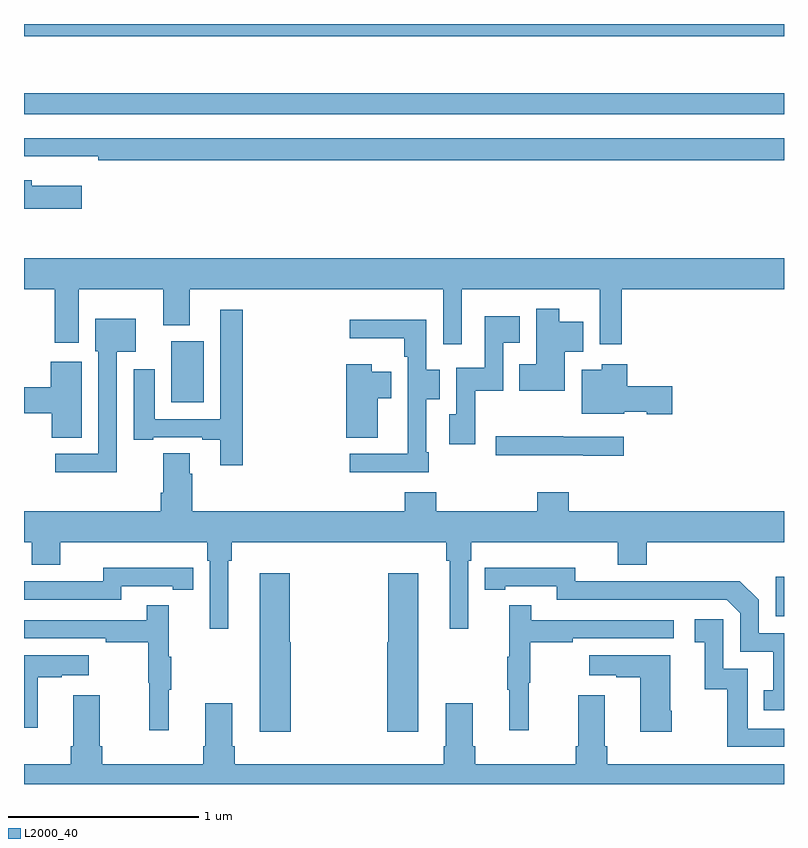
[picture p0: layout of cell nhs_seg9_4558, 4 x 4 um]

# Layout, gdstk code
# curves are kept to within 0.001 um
import gdstk
lib = gdstk.Library(unit=1e-6, precision=1e-09)
def R(c, l, rs):  # rectangles x0, y0, x1, y1
    for r in rs: c.add(gdstk.rectangle(r[:2], r[2:], *l))
def P(c, l, *ps):  # polygons
    for p in ps: c.add(gdstk.Polygon(p, *l))
L2000_40 = (2000, 40)

nhs_seg9_4558 = lib.new_cell('nhs_seg9_4558')
R(nhs_seg9_4558, L2000_40, [(376.956,1177.383,377,1177.591), (373.775,1178.51,373.945,1178.83), (373,1180.026,377,1180.135), (373,1180.436,377,1180.5)])
P(nhs_seg9_4558, L2000_40, [(377,1179.9),(373,1179.9),(373,1179.804),(373.138,1179.804),(373.138,1179.803),(373.39,1179.803),(373.39,1179.784),(377,1179.784)],
  [(373.303,1179.649),(373.042,1179.649),(373.042,1179.678),(373,1179.678),(373,1179.527),(373.303,1179.527)],
  [(375.303,1179.104),(376.029,1179.104),(376.029,1178.814),(376.145,1178.814),(376.145,1179.104),(377,1179.104),(377,1179.268),(373,1179.268),(373,1179.104),(373.163,1179.104),(373.163,1178.823),(373.288,1178.823),(373.288,1179.104),(373.733,1179.104),(373.733,1178.915),(373.873,1178.915),(373.873,1179.104),(375.207,1179.104),(375.207,1178.814),(375.303,1178.814)],
  [(375.847,1178.774),(375.944,1178.774),(375.944,1178.932),(375.817,1178.932),(375.817,1179.001),(375.695,1179.001),(375.695,1178.71),(375.607,1178.71),(375.607,1178.57),(375.847,1178.57)],
  [(374.15,1178.995),(374.034,1178.995),(374.034,1178.421),(373.687,1178.421),(373.687,1178.683),(373.577,1178.683),(373.577,1178.313),(373.681,1178.313),(373.681,1178.325),(373.937,1178.325),(373.937,1178.313),(374.033,1178.313),(374.033,1178.178),(374.15,1178.178)],
  [(375.375,1178.57),(375.522,1178.57),(375.522,1178.822),(375.61,1178.822),(375.61,1178.962),(375.426,1178.962),(375.426,1178.692),(375.276,1178.692),(375.276,1178.445),(375.239,1178.445),(375.239,1178.289),(375.375,1178.289)],
  [(373.488,1178.774),(373.588,1178.774),(373.588,1178.95),(373.376,1178.95),(373.376,1178.778),(373.392,1178.778),(373.392,1178.238),(373.164,1178.238),(373.164,1178.141),(373.488,1178.141)],
  [(375.13,1178.245),(375.117,1178.245),(375.117,1178.524),(375.187,1178.524),(375.187,1178.679),(375.117,1178.679),(375.117,1178.944),(374.715,1178.944),(374.715,1178.846),(375.001,1178.846),(375.001,1178.75),(375.021,1178.75),(375.021,1178.435),(375.02,1178.435),(375.02,1178.238),(374.715,1178.238),(374.715,1178.142),(375.13,1178.142)],
  [(373.303,1178.722),(373.142,1178.722),(373.142,1178.588),(373,1178.588),(373,1178.452),(373.147,1178.452),(373.147,1178.323),(373.303,1178.323)],
  [(376.411,1178.594),(376.175,1178.594),(376.175,1178.71),(376.04,1178.71),(376.04,1178.68),(375.935,1178.68),(375.935,1178.45),(376.158,1178.45),(376.158,1178.459),(376.278,1178.459),(376.278,1178.447),(376.411,1178.447)],
  [(374.863,1178.531),(374.932,1178.531),(374.932,1178.671),(374.83,1178.671),(374.83,1178.71),(374.696,1178.71),(374.696,1178.323),(374.863,1178.323)],
  [(376.156,1178.328),(375.839,1178.328),(375.839,1178.331),(375.483,1178.331),(375.483,1178.231),(375.943,1178.231),(375.943,1178.227),(376.156,1178.227)],
  [(376.124,1177.655),(376.277,1177.655),(376.277,1177.772),(377,1177.772),(377,1177.936),(375.866,1177.936),(375.866,1178.035),(375.701,1178.035),(375.701,1177.936),(375.17,1177.936),(375.17,1178.035),(375.005,1178.035),(375.005,1177.936),(373.886,1177.936),(373.886,1178.132),(373.873,1178.132),(373.873,1178.24),(373.733,1178.24),(373.733,1178.032),(373.721,1178.032),(373.721,1177.936),(373,1177.936),(373,1177.772),(373.04,1177.772),(373.04,1177.655),(373.192,1177.655),(373.192,1177.772),(373.964,1177.772),(373.964,1177.676),(373.977,1177.676),(373.977,1177.317),(374.074,1177.317),(374.074,1177.676),(374.093,1177.676),(374.093,1177.772),(375.223,1177.772),(375.223,1177.676),(375.242,1177.676),(375.242,1177.317),(375.339,1177.317),(375.339,1177.676),(375.353,1177.676),(375.353,1177.772),(376.124,1177.772)],
  [(377,1177.293),(376.866,1177.293),(376.866,1177.47),(376.768,1177.568),(376.36,1177.568),(376.36,1177.566),(375.9,1177.566),(375.9,1177.639),(375.424,1177.638),(375.424,1177.522),(375.532,1177.522),(375.532,1177.542),(375.804,1177.542),(375.804,1177.47),(376.698,1177.47),(376.77,1177.398),(376.77,1177.197),(376.943,1177.197),(376.943,1176.993),(376.894,1176.993),(376.894,1176.888),(377,1176.888)],
  [(373.512,1177.542),(373.784,1177.542),(373.784,1177.522),(373.892,1177.522),(373.892,1177.638),(373.784,1177.638),(373.784,1177.639),(373.416,1177.639),(373.416,1177.566),(373,1177.566),(373,1177.47),(373.512,1177.47)],
  [(375.076,1177.609),(374.918,1177.609),(374.918,1177.245),(374.912,1177.245),(374.912,1176.774),(375.076,1176.774)],
  [(374.404,1177.245),(374.399,1177.245),(374.399,1177.609),(374.24,1177.609),(374.24,1176.774),(374.404,1176.774)],
  [(375.656,1177.032),(375.664,1177.032),(375.664,1177.246),(375.887,1177.246),(375.887,1177.266),(376.42,1177.266),(376.42,1177.362),(375.671,1177.362),(375.671,1177.441),(375.554,1177.441),(375.554,1177.169),(375.543,1177.169),(375.543,1176.995),(375.554,1176.995),(375.554,1176.783),(375.656,1176.783)],
  [(373.763,1176.995),(373.774,1176.995),(373.774,1177.169),(373.763,1177.169),(373.763,1177.441),(373.645,1177.441),(373.645,1177.362),(373,1177.362),(373,1177.266),(373.429,1177.266),(373.429,1177.246),(373.653,1177.246),(373.653,1177.032),(373.66,1177.032),(373.66,1176.783),(373.763,1176.783)],
  [(377,1176.792),(376.809,1176.792),(376.809,1177.107),(376.68,1177.107),(376.68,1177.366),(376.53,1177.366),(376.53,1177.245),(376.583,1177.245),(376.583,1176.999),(376.701,1176.999),(376.701,1176.696),(377,1176.696)],
  [(373.072,1177.063),(373.199,1177.063),(373.199,1177.073),(373.342,1177.073),(373.342,1177.177),(373,1177.177),(373,1176.795),(373.072,1176.795)],
  [(376.41,1176.886),(376.402,1176.886),(376.402,1177.177),(375.975,1177.177),(375.975,1177.073),(376.118,1177.073),(376.118,1177.063),(376.244,1177.063),(376.244,1176.774),(376.41,1176.774)],
  [(377,1176.604),(376.07,1176.604),(376.07,1176.7),(376.057,1176.7),(376.057,1176.967),(375.917,1176.967),(375.917,1176.7),(375.905,1176.7),(375.905,1176.604),(375.374,1176.604),(375.374,1176.7),(375.361,1176.7),(375.361,1176.925),(375.221,1176.925),(375.221,1176.7),(375.209,1176.7),(375.209,1176.604),(374.108,1176.604),(374.108,1176.7),(374.095,1176.7),(374.095,1176.925),(373.955,1176.925),(373.955,1176.7),(373.943,1176.7),(373.943,1176.604),(373.412,1176.604),(373.412,1176.7),(373.399,1176.7),(373.399,1176.967),(373.259,1176.967),(373.259,1176.7),(373.247,1176.7),(373.247,1176.604),(373,1176.604),(373,1176.5),(377,1176.5)])

lib.write_gds('nhs_seg9_4558.gds')
